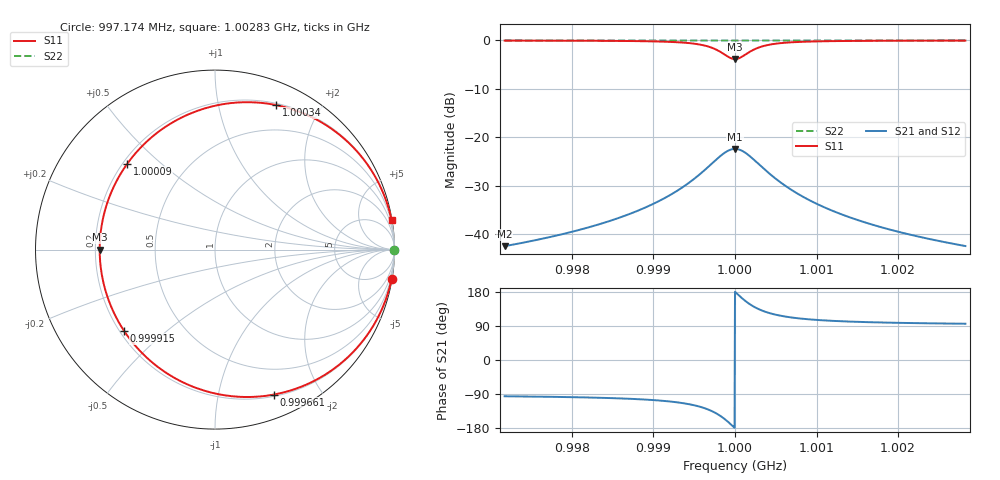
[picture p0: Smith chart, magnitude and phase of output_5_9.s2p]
! File generated for n1 = 5, n2 = 9
! b1 = 4.641589
! b2 = 0.010000
! Q0 = 10000.000000
! f0 = 1000000000.000000
! n = 1001
! rel_span = 10.000000
# Hz S RI R 50
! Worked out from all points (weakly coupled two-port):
!   1001 points, 997.174 MHz to 1.00283 GHz, reference 50 ohm
!   highest |S21| = -22.36 dB at 1 GHz (marker M1); lowest = -42.4 dB at 997.174 MHz (marker M2)
!   lowest |S11| = -3.8 dB at 1 GHz (marker M3), VSWR 4.60, Z = 10.9 + j0 ohm
!   |S11| at or under -10 dB: nowhere
!   |S22| runs from 0.0 to 0.0 dB; largest |S21 - S12| = 0
!   S11 on the Smith chart (normalised r, x): 997.174 MHz: 0, -12; 999.661 MHz: 0.22, -1.46; 999.915 MHz: 0.22, -0.37; 1.00009 GHz: 0.22, +0.39; 1.00034 GHz: 0.22, +1.49; 1.00283 GHz: 0, +12
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9.971742e8  0.9838 -0.1624  -0.000753 -0.00754  -0.000753 -0.00754  1 -0.00035
9.98118e8  0.9639 -0.241  -0.00168 -0.0112  -0.00168 -0.0112  0.9999 -0.000519
9.986549e8  0.9307 -0.3303  -0.00322 -0.0153  -0.00322 -0.0153  0.9999 -0.000712
9.990618e8  0.8635 -0.4534  -0.00634 -0.021  -0.00634 -0.021  0.9997 -0.000977
9.994235e8  0.6819 -0.6491  -0.0148 -0.0301  -0.0148 -0.0301  0.9993 -0.0014
9.995535e8  0.5304 -0.7422  -0.0218 -0.0344  -0.0218 -0.0344  0.999 -0.0016
9.996609e8  0.3269 -0.8078  -0.0312 -0.0375  -0.0312 -0.0375  0.9985 -0.00174
9.998022e8  -0.1023 -0.7717  -0.0512 -0.0358  -0.0512 -0.0358  0.9976 -0.00166
9.998587e8  -0.314 -0.6571  -0.061 -0.0305  -0.061 -0.0305  0.9972 -0.00142
9.999152e8  -0.5069 -0.4521  -0.0699 -0.021  -0.0699 -0.021  0.9968 -0.000974
1e9  -0.6426 0  -0.0762 0  -0.0762 0  0.9965 0
1.000045e9  -0.6016 0.2562  -0.0743 0.0119  -0.0743 0.0119  0.9965 0.000552
1.00009e9  -0.49 0.4768  -0.0692 0.0221  -0.0692 0.0221  0.9968 0.00103
1.000141e9  -0.3141 0.657  -0.061 0.0305  -0.061 0.0305  0.9972 0.00142
1.000198e9  -0.1025 0.7717  -0.0512 0.0358  -0.0512 0.0358  0.9976 0.00166
1.00026e9  0.1103 0.8184  -0.0413 0.038  -0.0413 0.038  0.9981 0.00176
1.000345e9  0.3398 0.8053  -0.0306 0.0374  -0.0306 0.0374  0.9986 0.00174
1.000452e9  0.5385 0.7383  -0.0214 0.0343  -0.0214 0.0343  0.999 0.00159
1.000582e9  0.6866 0.6454  -0.0145 0.03  -0.0145 0.03  0.9993 0.00139
1.000944e9  0.8648 0.4515  -0.00628 0.021  -0.00628 0.021  0.9997 0.000973
1.001888e9  0.9639 0.2407  -0.00167 0.0112  -0.00167 0.0112  0.9999 0.000519
1.002826e9  0.9837 0.1629  -0.000757 0.00756  -0.000757 0.00756  1 0.000351
